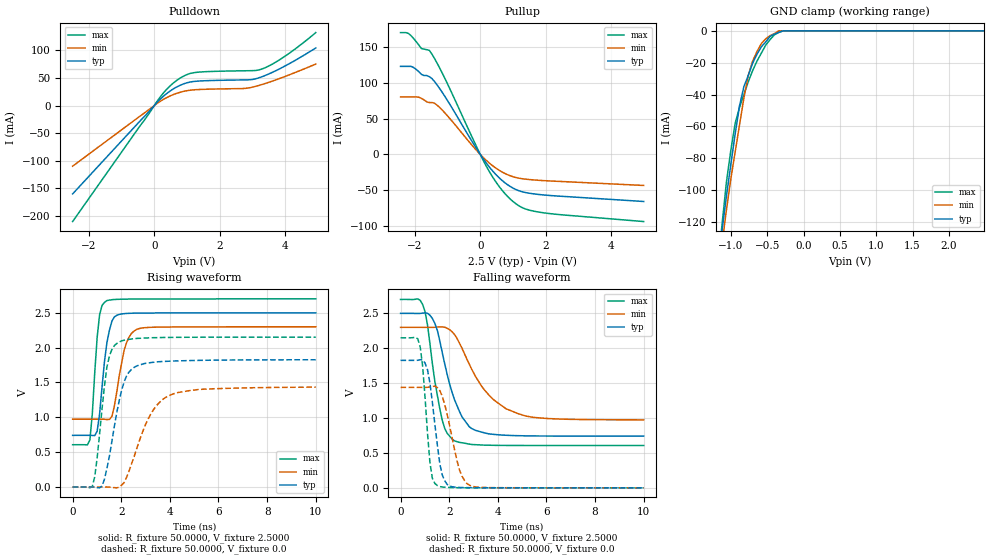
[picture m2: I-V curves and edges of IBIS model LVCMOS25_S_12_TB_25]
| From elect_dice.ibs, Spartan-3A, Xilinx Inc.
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|   Model LVCMOS25_S_12_TB_25
[Model]  LVCMOS25_S_12_TB_25
Model_type I/O
Polarity   Non-Inverting
Enable   Active-Low
Vinl =   0.7000V
Vinh =   1.7000V
Vmeas =  1.2500V
Cref =   0.0F
Rref =   1.0000M
Vref =   0.0V
C_comp   6.5640pF   6.1748pF   7.0674pF
[Temperature Range]   27.0000   85.0000   0.0
[Voltage Range]   2.5000V   2.3000V   2.7000V
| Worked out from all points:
|   slope of the pulldown table from 0 to 0.375 V, typ, clamps not added: 17.4 ohm
|   slope of the pullup table from 0 to 0.375 V, typ, clamps not added: 16.4 ohm
|   GND clamp passes 1 mA (typ) near -0.34 V on its own axis
|   rising waveform, R_fixture 50.0000, V_fixture 2.5000: 20-80 % time 334ps typ, 429ps min, 247ps max; typ from 0.741 V to 2.5 V
|   rising waveform, R_fixture 50.0000, V_fixture 0.0: 20-80 % time 609ps typ, 1.02ns min, 397ps max; typ from 0 V to 1.83 V
|   falling waveform, R_fixture 50.0000, V_fixture 2.5000: 20-80 % time 840ps typ, 1.44ns min, 552ps max; typ from 2.5 V to 0.742 V
|   falling waveform, R_fixture 50.0000, V_fixture 0.0: 20-80 % time 385ps typ, 550ps min, 278ps max; typ from 1.83 V to 0 V
[Pulldown]
|Voltage   I(typ)   I(min)   I(max)
-2.5V     -159.9mA   -109.7mA   -209.9mA
140mV     9.02mA     5.955mA    12.23mA
380mV     21.73mA    14.35mA    29.41mA
620mV     31.35mA    20.65mA    42.48mA
940mV     39.99mA    26.14mA    54.42mA
1.26V     43.77mA    28.56mA    59.79mA
2.78V     46.32mA    30.97mA    62.83mA
3.02V     47.28mA    33.45mA    63.07mA
3.26V     51.27mA    37.32mA    65.38mA
3.58V     59.1mA     43.46mA    73.84mA
3.98V     70.87mA    52.08mA    88.42mA
4.94V     104.1mA    74.91mA    131.9mA
[Pullup]
|Voltage   I(typ)   I(min)   I(max)
-2.44V    123.1mA    80.33mA    170.3mA
-2.2V     123.1mA    80.33mA    169.2mA
-1.8V     111.9mA    78.39mA    148mA
-1.56V    108.7mA    72.56mA    145.5mA
-1.48V    106.1mA    72.56mA    140.2mA
-1.16V    86.53mA    61.81mA    113.4mA
200mV     -13.04mA   -8.956mA   -17.71mA
600mV     -33.58mA   -22.74mA   -46.12mA
1.08V     -48.8mA    -32.15mA   -68.56mA
1.4V      -53.38mA   -34.61mA   -76.46mA
1.96V     -56.7mA    -36.63mA   -81.69mA
5V        -65.74mA   -43.34mA   -93.79mA
[GND_clamp]
|Voltage   I(typ)   I(min)   I(max)
-2.5V     -677.7mA   -618.7mA   -772.5mA
-1.12V    -125mA     -133.4mA   -121.2mA
-1.06V    -103.6mA   -112.3mA   -94.8mA
-940mV    -64.68mA   -75.98mA   -58mA
-880mV    -47mA      -59.03mA   -48mA
-820mV    -35mA      -42.08mA   -40mA
-760mV    -28mA      -28mA      -32mA
-640mV    -14.67mA   -13mA      -19mA
-580mV    -10mA      -8mA       -14mA
-460mV    -3.5mA     -3mA       -5.5mA
-340mV    -1mA       -3fA       -1mA
2.48V     0A         0A         0A
[POWER_clamp]
|Voltage   I(typ)   I(min)   I(max)
-2.49V    0A         0A         0A
-2.46V    0A         0A         0A
-2.43V    0A         0A         0A
0V        0A         0A         0A
[Ramp]
dV/dt_r  1.0956/0.6043n   0.8604/1.0142n   1.2900/0.3974n
dV/dt_f  1.0551/0.8392n   0.7954/1.4220n   1.2559/0.5422n
R_load = 50.0000
[Rising Waveform]
R_fixture= 50.0000
V_fixture= 2.5000
V_fixture_min= 2.3000
V_fixture_max= 2.7000
|time   V(typ)   V(min)   V(max)
0s        741.4mV    973.3mV    606.9mV
710ps     741.4mV    973.3mV    674.2mV
810ps     739.7mV    973.3mV    1.046V
1.01ns    801.5mV    973.4mV    2.149V
1.11ns    1.048V     973.4mV    2.471V
1.41ns    2.069V     968.1mV    2.675V
1.72ns    2.441V     1.167V     2.691V
2.12ns    2.488V     1.965V     2.696V
2.63ns    2.495V     2.261V     2.698V
10ns      2.499V     2.299V     2.7V
[Rising Waveform]
R_fixture= 50.0000
V_fixture= 0.0
|time   V(typ)   V(min)   V(max)
0s        0V         0V         0V
810ps     298uV      -497.5nV   8.107mV
1.01ns    -9.084mV   -2.353uV   421.2mV
1.21ns    15.13mV    4.964uV    1.121V
1.41ns    264.2mV    303.1uV    1.72V
1.82ns    1.074V     -11.92mV   2.06V
2.42ns    1.686V     329.4mV    2.124V
3.13ns    1.781V     992.4mV    2.14V
3.94ns    1.805V     1.306V     2.146V
10ns      1.826V     1.434V     2.15V
[Falling Waveform]
R_fixture= 50.0000
V_fixture= 2.5000
V_fixture_min= 2.3000
V_fixture_max= 2.7000
|time   V(typ)   V(min)   V(max)
0s        2.5V       2.3V       2.7V
910ps     2.504V     2.3V       2.627V
1.11ns    2.501V     2.299V     2.334V
1.41ns    2.359V     2.301V     1.53V
1.72ns    1.932V     2.306V     963.4mV
2.22ns    1.263V     2.197V     673.5mV
2.93ns    849.6mV    1.698V     621.2mV
4.34ns    753.7mV    1.133V     607.8mV
5.76ns    743.1mV    1.001V     606.9mV
10ns      741.5mV    974.3mV    606.9mV
[Falling Waveform]
R_fixture= 50.0000
V_fixture= 0.0
|time   V(typ)   V(min)   V(max)
0s        1.827V     1.439V     2.15V
810ps     1.836V     1.439V     2.018V
910ps     1.834V     1.439V     1.742V
1.21ns    1.498V     1.445V     359.5mV
1.52ns    598.7mV    1.436V     31.89mV
1.72ns    181mV      1.308V     11.63mV
1.92ns    48.9mV     1.05V      6.942mV
2.42ns    5.543mV    259.6mV    1.61mV
2.83ns    2.931mV    39.68mV    791.3uV
10ns      5.195uV    41.11uV    -3.669uV
